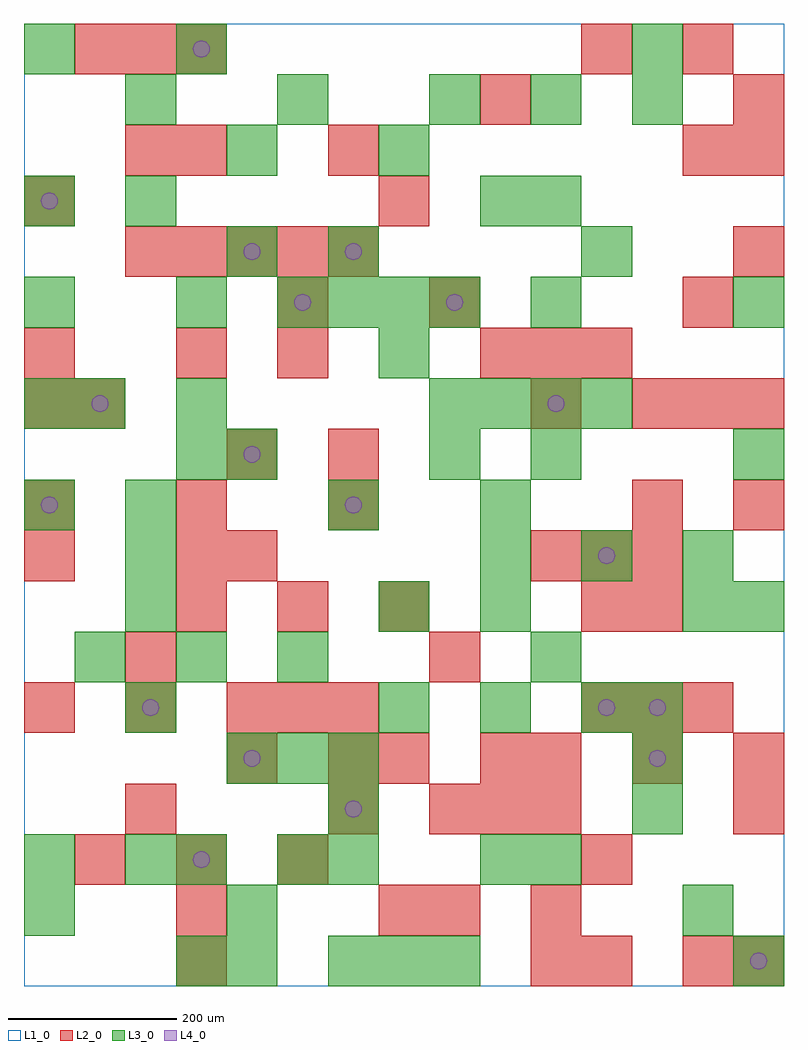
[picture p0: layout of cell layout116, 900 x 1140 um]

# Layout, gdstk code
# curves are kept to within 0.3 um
import gdstk
lib = gdstk.Library(unit=1e-6, precision=1e-09)
def R(c, l, rs):  # rectangles x0, y0, x1, y1
    for r in rs: c.add(gdstk.rectangle(r[:2], r[2:], *l))
def A(c, l, x, y, w, h, nx, ny, dx, dy):  # array of equal rectangles
    R(c, l, [(x+i*dx, y+j*dy, x+i*dx+w, y+j*dy+h) for i in range(nx) for j in range(ny)])
def P(c, l, *ps):  # polygons
    for p in ps: c.add(gdstk.Polygon(p, *l))
L1_0 = (1, 0)
L2_0 = (2, 0)
L3_0 = (3, 0)
L4_0 = (4, 0)

layout116 = lib.new_cell('layout116')
R(layout116, L1_0, [(0,0,900,1140)])
A(layout116, L2_0, 60, 120, 60, 60, 3, 1, 120, 0)
A(layout116, L2_0, 360, 180, 60, 60, 1, 3, 0, 60)
A(layout116, L2_0, 480, 180, 60, 60, 3, 1, 60, 0)
A(layout116, L2_0, 600, 240, 60, 60, 3, 1, 120, 0)
A(layout116, L2_0, 0, 300, 60, 60, 3, 1, 120, 0)
A(layout116, L2_0, 660, 300, 60, 60, 3, 1, 60, 0)
A(layout116, L2_0, 180, 420, 60, 60, 3, 1, 120, 0)
A(layout116, L2_0, 180, 480, 60, 60, 1, 3, 0, 240)
A(layout116, L2_0, 600, 480, 60, 60, 3, 1, 60, 0)
A(layout116, L2_0, 0, 540, 60, 60, 3, 1, 180, 0)
A(layout116, L2_0, 720, 660, 60, 60, 3, 1, 60, 0)
A(layout116, L2_0, 540, 720, 60, 60, 3, 1, 60, 0)
A(layout116, L2_0, 120, 840, 60, 60, 5, 1, 60, 0)
A(layout116, L2_0, 60, 1080, 60, 60, 3, 1, 60, 0)
R(layout116, L2_0, [(180,0,240,60), (600,0,660,60), (660,0,720,60), (780,0,840,60), (840,0,900,60), (180,60,240,120), (420,60,480,120), (480,60,540,120), (600,60,660,120), (660,120,720,180), (120,180,180,240), (840,180,900,240), (240,240,300,300), (420,240,480,300), (540,240,600,300), (300,300,360,360), (120,360,180,420), (480,360,540,420), (660,420,720,480), (720,420,780,480), (0,480,60,540), (240,480,300,540), (720,540,780,600), (840,540,900,600), (240,600,300,660), (360,600,420,660), (0,660,60,720), (60,660,120,720), (600,660,660,720), (0,720,60,780), (300,720,360,780), (300,780,360,840), (480,780,540,840), (780,780,840,840), (840,840,900,900), (0,900,60,960), (420,900,480,960), (120,960,180,1020), (360,960,420,1020), (780,960,840,1020), (840,960,900,1020), (540,1020,600,1080), (840,1020,900,1080), (660,1080,720,1140), (780,1080,840,1140)])
A(layout116, L3_0, 360, 0, 60, 60, 3, 1, 60, 0)
A(layout116, L3_0, 600, 120, 60, 60, 1, 3, 0, 240)
A(layout116, L3_0, 720, 180, 60, 60, 1, 3, 0, 60)
A(layout116, L3_0, 240, 240, 60, 60, 3, 1, 60, 0)
A(layout116, L3_0, 420, 300, 60, 60, 3, 1, 120, 0)
A(layout116, L3_0, 60, 360, 60, 60, 3, 1, 120, 0)
A(layout116, L3_0, 120, 420, 60, 60, 1, 3, 0, 60)
A(layout116, L3_0, 840, 420, 60, 60, 1, 3, 0, 180)
A(layout116, L3_0, 540, 480, 60, 60, 3, 1, 120, 0)
A(layout116, L3_0, 0, 540, 60, 60, 1, 4, 0, 120)
A(layout116, L3_0, 480, 660, 60, 60, 4, 1, 60, 0)
A(layout116, L3_0, 300, 780, 60, 60, 4, 1, 60, 0)
A(layout116, L3_0, 600, 780, 60, 60, 1, 3, 0, 120)
A(layout116, L3_0, 120, 1020, 60, 60, 3, 1, 180, 0)
R(layout116, L3_0, [(180,0,240,60), (240,0,300,60), (840,0,900,60), (0,60,60,120), (240,60,300,120), (780,60,840,120), (0,120,60,180), (120,120,180,180), (180,120,240,180), (300,120,360,180), (360,120,420,180), (540,120,600,180), (360,180,420,240), (120,300,180,360), (420,420,480,480), (540,420,600,480), (780,420,840,480), (360,540,420,600), (540,540,600,600), (180,600,240,660), (240,600,300,660), (480,600,540,660), (60,660,120,720), (180,660,240,720), (420,720,480,780), (180,780,240,840), (240,840,300,900), (360,840,420,900), (660,840,720,900), (120,900,180,960), (540,900,600,960), (240,960,300,1020), (420,960,480,1020), (720,1020,780,1080), (0,1080,60,1140), (180,1080,240,1140), (720,1080,780,1140)])
P(layout116, L4_0, [(40,570),(39.239,573.827),(37.071,577.071),(33.827,579.239),(30,580),(26.173,579.239),(22.929,577.071),(20.761,573.827),(20,570),(20.761,566.173),(22.929,562.929),(26.173,560.761),(30,560),(33.827,560.761),(37.071,562.929),(39.239,566.173)],
  [(40,930),(39.239,933.827),(37.071,937.071),(33.827,939.239),(30,940),(26.173,939.239),(22.929,937.071),(20.761,933.827),(20,930),(20.761,926.173),(22.929,922.929),(26.173,920.761),(30,920),(33.827,920.761),(37.071,922.929),(39.239,926.173)],
  [(100,690),(99.239,693.827),(97.071,697.071),(93.827,699.239),(90,700),(86.173,699.239),(82.929,697.071),(80.761,693.827),(80,690),(80.761,686.173),(82.929,682.929),(86.173,680.761),(90,680),(93.827,680.761),(97.071,682.929),(99.239,686.173)],
  [(160,330),(159.239,333.827),(157.071,337.071),(153.827,339.239),(150,340),(146.173,339.239),(142.929,337.071),(140.761,333.827),(140,330),(140.761,326.173),(142.929,322.929),(146.173,320.761),(150,320),(153.827,320.761),(157.071,322.929),(159.239,326.173)],
  [(220,150),(219.239,153.827),(217.071,157.071),(213.827,159.239),(210,160),(206.173,159.239),(202.929,157.071),(200.761,153.827),(200,150),(200.761,146.173),(202.929,142.929),(206.173,140.761),(210,140),(213.827,140.761),(217.071,142.929),(219.239,146.173)],
  [(220,1110),(219.239,1113.827),(217.071,1117.071),(213.827,1119.239),(210,1120),(206.173,1119.239),(202.929,1117.071),(200.761,1113.827),(200,1110),(200.761,1106.173),(202.929,1102.929),(206.173,1100.761),(210,1100),(213.827,1100.761),(217.071,1102.929),(219.239,1106.173)],
  [(280,270),(279.239,273.827),(277.071,277.071),(273.827,279.239),(270,280),(266.173,279.239),(262.929,277.071),(260.761,273.827),(260,270),(260.761,266.173),(262.929,262.929),(266.173,260.761),(270,260),(273.827,260.761),(277.071,262.929),(279.239,266.173)],
  [(280,630),(279.239,633.827),(277.071,637.071),(273.827,639.239),(270,640),(266.173,639.239),(262.929,637.071),(260.761,633.827),(260,630),(260.761,626.173),(262.929,622.929),(266.173,620.761),(270,620),(273.827,620.761),(277.071,622.929),(279.239,626.173)],
  [(280,870),(279.239,873.827),(277.071,877.071),(273.827,879.239),(270,880),(266.173,879.239),(262.929,877.071),(260.761,873.827),(260,870),(260.761,866.173),(262.929,862.929),(266.173,860.761),(270,860),(273.827,860.761),(277.071,862.929),(279.239,866.173)],
  [(340,810),(339.239,813.827),(337.071,817.071),(333.827,819.239),(330,820),(326.173,819.239),(322.929,817.071),(320.761,813.827),(320,810),(320.761,806.173),(322.929,802.929),(326.173,800.761),(330,800),(333.827,800.761),(337.071,802.929),(339.239,806.173)],
  [(400,210),(399.239,213.827),(397.071,217.071),(393.827,219.239),(390,220),(386.173,219.239),(382.929,217.071),(380.761,213.827),(380,210),(380.761,206.173),(382.929,202.929),(386.173,200.761),(390,200),(393.827,200.761),(397.071,202.929),(399.239,206.173)],
  [(400,570),(399.239,573.827),(397.071,577.071),(393.827,579.239),(390,580),(386.173,579.239),(382.929,577.071),(380.761,573.827),(380,570),(380.761,566.173),(382.929,562.929),(386.173,560.761),(390,560),(393.827,560.761),(397.071,562.929),(399.239,566.173)],
  [(400,870),(399.239,873.827),(397.071,877.071),(393.827,879.239),(390,880),(386.173,879.239),(382.929,877.071),(380.761,873.827),(380,870),(380.761,866.173),(382.929,862.929),(386.173,860.761),(390,860),(393.827,860.761),(397.071,862.929),(399.239,866.173)],
  [(520,810),(519.239,813.827),(517.071,817.071),(513.827,819.239),(510,820),(506.173,819.239),(502.929,817.071),(500.761,813.827),(500,810),(500.761,806.173),(502.929,802.929),(506.173,800.761),(510,800),(513.827,800.761),(517.071,802.929),(519.239,806.173)],
  [(640,690),(639.239,693.827),(637.071,697.071),(633.827,699.239),(630,700),(626.173,699.239),(622.929,697.071),(620.761,693.827),(620,690),(620.761,686.173),(622.929,682.929),(626.173,680.761),(630,680),(633.827,680.761),(637.071,682.929),(639.239,686.173)],
  [(700,330),(699.239,333.827),(697.071,337.071),(693.827,339.239),(690,340),(686.173,339.239),(682.929,337.071),(680.761,333.827),(680,330),(680.761,326.173),(682.929,322.929),(686.173,320.761),(690,320),(693.827,320.761),(697.071,322.929),(699.239,326.173)],
  [(700,510),(699.239,513.827),(697.071,517.071),(693.827,519.239),(690,520),(686.173,519.239),(682.929,517.071),(680.761,513.827),(680,510),(680.761,506.173),(682.929,502.929),(686.173,500.761),(690,500),(693.827,500.761),(697.071,502.929),(699.239,506.173)],
  [(760,270),(759.239,273.827),(757.071,277.071),(753.827,279.239),(750,280),(746.173,279.239),(742.929,277.071),(740.761,273.827),(740,270),(740.761,266.173),(742.929,262.929),(746.173,260.761),(750,260),(753.827,260.761),(757.071,262.929),(759.239,266.173)],
  [(760,330),(759.239,333.827),(757.071,337.071),(753.827,339.239),(750,340),(746.173,339.239),(742.929,337.071),(740.761,333.827),(740,330),(740.761,326.173),(742.929,322.929),(746.173,320.761),(750,320),(753.827,320.761),(757.071,322.929),(759.239,326.173)],
  [(880,30),(879.239,33.827),(877.071,37.071),(873.827,39.239),(870,40),(866.173,39.239),(862.929,37.071),(860.761,33.827),(860,30),(860.761,26.173),(862.929,22.929),(866.173,20.761),(870,20),(873.827,20.761),(877.071,22.929),(879.239,26.173)])

lib.write_gds('layout116.gds')
